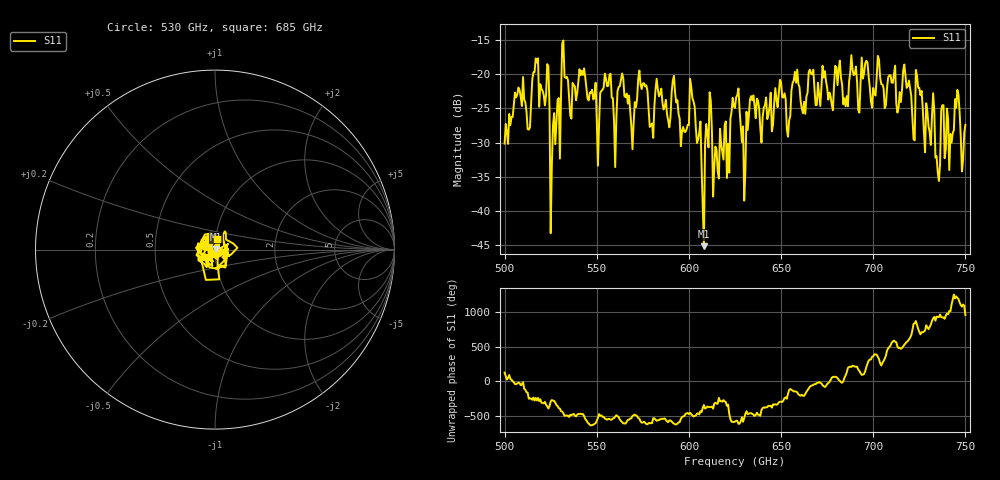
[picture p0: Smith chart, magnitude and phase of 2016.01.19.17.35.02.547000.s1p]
!Created with skrf (http://scikit-rf.org).
# GHz S RI R 50.0
!freq ReS11 ImS11
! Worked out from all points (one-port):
!   401 points, 500 GHz to 750 GHz, reference 50 ohm
!   lowest |S11| = -45.2 dB at 608.1 GHz (marker M1), VSWR 1.01, Z = 50.5 + j0.119 ohm
!   |S11| at or under -10 dB: start of sweep to end of sweep
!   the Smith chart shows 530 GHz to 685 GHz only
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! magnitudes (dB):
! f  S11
! 500 GHz  -30.2
! 506.9 GHz  -23.0
! 513.1 GHz  -28.1
! 516.9 GHz  -17.7
! 523.1 GHz  -18.5
! 526.2 GHz  -27.5
! 531.2 GHz  -15.5
! 551.2 GHz  -27.4
! 556.2 GHz  -21.7
! 559.4 GHz  -26.9
! 562.5 GHz  -21.8
! 569.4 GHz  -31.0
! 573.8 GHz  -21.5
! 579.4 GHz  -27.4
! 593.8 GHz  -23.8
! 601.9 GHz  -23.5
! 608.1 GHz  -45.2
! 610.6 GHz  -30.7
! 614.4 GHz  -30.6
! 625 GHz  -24.9
! 629.4 GHz  -27.6
! 634.4 GHz  -23.8
! 656.2 GHz  -21.3
! 687.5 GHz  -19.8
! 718.8 GHz  -21.8
! 735 GHz  -34.4
! 745.6 GHz  -22.3
! 750 GHz  -27.4
